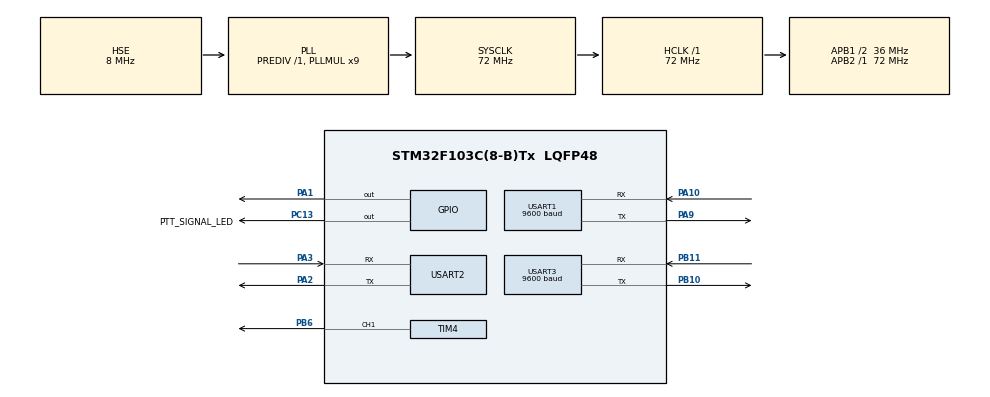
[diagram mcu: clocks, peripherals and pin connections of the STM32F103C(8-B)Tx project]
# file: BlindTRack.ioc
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Mcu.Family=STM32F1
Mcu.Name=STM32F103C(8-B)Tx
Mcu.Package=LQFP48
NVIC.PriorityGroup=NVIC_PRIORITYGROUP_4
NVIC.TIM4_IRQn=true\:0\:0\:false\:false\:true\:true\:true\:true
NVIC.USART1_IRQn=true\:0\:0\:false\:false\:true\:true\:true\:true
NVIC.USART2_IRQn=true\:0\:0\:false\:false\:true\:true\:true\:true
NVIC.USART3_IRQn=true\:0\:0\:false\:false\:true\:true\:true\:true
PA1.GPIO_PuPd=GPIO_PULLDOWN
PA1.Signal=GPIO_Output
PA10.Mode=Asynchronous
PA10.Signal=USART1_RX
PA2.Mode=Asynchronous
PA2.Signal=USART2_TX
PA3.Mode=Asynchronous
PA3.Signal=USART2_RX
PA9.Mode=Asynchronous
PA9.Signal=USART1_TX
PB10.Mode=Asynchronous
PB10.Signal=USART3_TX
PB11.Mode=Asynchronous
PB11.Signal=USART3_RX
PB6.Signal=S_TIM4_CH1
PC13-TAMPER-RTC.GPIO_Label=PTT_SIGNAL_LED
PC13-TAMPER-RTC.PinState=GPIO_PIN_SET
PC13-TAMPER-RTC.Signal=GPIO_Output
PD0-OSC_IN.Mode=HSE-External-Oscillator
PD0-OSC_IN.Signal=RCC_OSC_IN
PD1-OSC_OUT.Mode=HSE-External-Oscillator
PD1-OSC_OUT.Signal=RCC_OSC_OUT
ProjectManager.HeapSize=0x200
ProjectManager.StackSize=0x400
ProjectManager.TargetToolchain=STM32CubeIDE
RCC.AHBFreq_Value=72000000
RCC.APB1CLKDivider=RCC_HCLK_DIV2
RCC.APB1Freq_Value=36000000
RCC.APB1TimFreq_Value=72000000
RCC.APB2Freq_Value=72000000
RCC.APB2TimFreq_Value=72000000
RCC.HCLKFreq_Value=72000000
RCC.PLLMUL=RCC_PLL_MUL9
RCC.PLLSourceVirtual=RCC_PLLSOURCE_HSE
RCC.SYSCLKFreq_VALUE=72000000
RCC.SYSCLKSource=RCC_SYSCLKSOURCE_PLLCLK
RCC.USBFreq_Value=72000000
SH.S_TIM4_CH1.0=TIM4_CH1,PWM Generation1 CH1
TIM4.Channel-PWM\ Generation1\ CH1=TIM_CHANNEL_1
TIM4.Period=1499
TIM4.Prescaler=0
USART1.BaudRate=9600
USART1.VirtualMode=VM_ASYNC
USART2.VirtualMode=VM_ASYNC
USART3.BaudRate=9600
USART3.VirtualMode=VM_ASYNC
VP_SYS_VS_ND.Mode=No_Debug
board=custom

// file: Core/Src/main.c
/* USER CODE BEGIN Header */
/*
  ******************************************************************************
  * @file           : main.c
  * @brief          : Ercan OLCAY # BlindTRack APRS Tracker
  * 23.04.2026
  ******************************************************************************
  */
/* USER CODE END Header */
#include "main.h"
#include "config.h"
/* USER CODE BEGIN Includes */
#include "modem.h"
#include "ax25.h"
#include "ptt.h"
#include "gps_handler.h"
#include "tracker.h"
/* USER CODE END Includes */

TIM_HandleTypeDef htim4;

UART_HandleTypeDef huart1;
UART_HandleTypeDef huart2;
UART_HandleTypeDef huart3;

/* USER CODE BEGIN PV */
volatile uint8_t g_rxByte;        // GPS bytes (interrupt)
uint8_t          rx_byte3;        // Config UART RX byte
char             rx_buf3[128];    // Config UART buffer
volatile uint8_t rx_idx3 = 0;    // Config UART buffer index (interrupt)
/* USER CODE END PV */

void SystemClock_Config(void);
static void MX_GPIO_Init(void);
static void MX_TIM4_Init(void);
static void MX_USART1_UART_Init(void);
static void MX_USART2_UART_Init(void);
static void MX_USART3_UART_Init(void);
/* USER CODE BEGIN PFP */
uint8_t Ax25IsSending(void); // External Function for Hardware PTT Control
void WdogReset(void);
/* USER CODE END PFP */

int main(void)
{

  HAL_Init();

  SystemClock_Config();

  MX_GPIO_Init();
  MX_TIM4_Init();
  MX_USART1_UART_Init();
  MX_USART2_UART_Init();
  Load_Config_From_Flash();
  MX_USART3_UART_Init();
  HAL_UART_Receive_IT(&huart3, &rx_byte3, 1);

  /* USER CODE BEGIN 2 */
  HAL_NVIC_SetPriority(TIM4_IRQn, 0, 0);
  HAL_NVIC_EnableIRQ(TIM4_IRQn);

  ModemInit();
  Ax25Init();

  HAL_UART_Receive_IT(&huart1, &g_rxByte, 1);

  HAL_TIM_Base_Start_IT(&htim4);
  HAL_TIM_PWM_Start(&htim4, TIM_CHANNEL_1);

  extern uint32_t last_tx;
  last_tx = 0xFFF00000;
  /* USER CODE END 2 */

  /* USER CODE BEGIN WHILE */
  while (1)
  {
      Tracker_Run();
      // Millis overflow safety
      if (HAL_GetTick() > 0xFFFFF000)
          NVIC_SystemReset();
    /* USER CODE END WHILE */
  }
}

void SystemClock_Config(void)
{
  RCC_OscInitTypeDef RCC_OscInitStruct = {0};
  RCC_ClkInitTypeDef RCC_ClkInitStruct = {0};

  RCC_OscInitStruct.OscillatorType = RCC_OSCILLATORTYPE_HSE;
  RCC_OscInitStruct.HSEState = RCC_HSE_ON;
  RCC_OscInitStruct.HSEPredivValue = RCC_HSE_PREDIV_DIV1;
  RCC_OscInitStruct.HSIState = RCC_HSI_ON;
  RCC_OscInitStruct.PLL.PLLState = RCC_PLL_ON;
  RCC_OscInitStruct.PLL.PLLSource = RCC_PLLSOURCE_HSE;
  RCC_OscInitStruct.PLL.PLLMUL = RCC_PLL_MUL9;
  if (HAL_RCC_OscConfig(&RCC_OscInitStruct) != HAL_OK) Error_Handler();

  RCC_ClkInitStruct.ClockType = RCC_CLOCKTYPE_HCLK|RCC_CLOCKTYPE_SYSCLK
                              |RCC_CLOCKTYPE_PCLK1|RCC_CLOCKTYPE_PCLK2;
  RCC_ClkInitStruct.SYSCLKSource = RCC_SYSCLKSOURCE_PLLCLK;
  RCC_ClkInitStruct.AHBCLKDivider = RCC_SYSCLK_DIV1;
  RCC_ClkInitStruct.APB1CLKDivider = RCC_HCLK_DIV2;
  RCC_ClkInitStruct.APB2CLKDivider = RCC_HCLK_DIV1;
  if (HAL_RCC_ClockConfig(&RCC_ClkInitStruct, FLASH_LATENCY_2) != HAL_OK) Error_Handler();
}

static void MX_TIM4_Init(void)
{
  TIM_MasterConfigTypeDef sMasterConfig = {0};
  TIM_OC_InitTypeDef sConfigOC = {0};

  htim4.Instance = TIM4;
  htim4.Init.Prescaler = 0;
  htim4.Init.CounterMode = TIM_COUNTERMODE_UP;
  htim4.Init.Period = 1499;
  htim4.Init.ClockDivision = TIM_CLOCKDIVISION_DIV1;
  htim4.Init.AutoReloadPreload = TIM_AUTORELOAD_PRELOAD_DISABLE;
  if (HAL_TIM_PWM_Init(&htim4) != HAL_OK) Error_Handler();

  sMasterConfig.MasterOutputTrigger = TIM_TRGO_RESET;
  sMasterConfig.MasterSlaveMode = TIM_MASTERSLAVEMODE_DISABLE;
  if (HAL_TIMEx_MasterConfigSynchronization(&htim4, &sMasterConfig) != HAL_OK) Error_Handler();

  sConfigOC.OCMode = TIM_OCMODE_PWM1;
  sConfigOC.Pulse = 0;
  sConfigOC.OCPolarity = TIM_OCPOLARITY_HIGH;
  sConfigOC.OCFastMode = TIM_OCFAST_DISABLE;
  if (HAL_TIM_PWM_ConfigChannel(&htim4, &sConfigOC, TIM_CHANNEL_1) != HAL_OK) Error_Handler();

  HAL_TIM_MspPostInit(&htim4);
}

static void MX_USART1_UART_Init(void)
{
  huart1.Instance = USART1;
  huart1.Init.BaudRate = 9600;
  huart1.Init.WordLength = UART_WORDLENGTH_8B;
  huart1.Init.StopBits = UART_STOPBITS_1;
  huart1.Init.Parity = UART_PARITY_NONE;
  huart1.Init.Mode = UART_MODE_TX_RX;
  huart1.Init.HwFlowCtl = UART_HWCONTROL_NONE;
  huart1.Init.OverSampling = UART_OVERSAMPLING_16;
  if (HAL_UART_Init(&huart1) != HAL_OK) Error_Handler();
}

static void MX_USART2_UART_Init(void)
{
  huart2.Instance = USART2;
  huart2.Init.BaudRate = 115200;
  huart2.Init.WordLength = UART_WORDLENGTH_8B;
  huart2.Init.StopBits = UART_STOPBITS_1;
  huart2.Init.Parity = UART_PARITY_NONE;
  huart2.Init.Mode = UART_MODE_TX_RX;
  huart2.Init.HwFlowCtl = UART_HWCONTROL_NONE;
  huart2.Init.OverSampling = UART_OVERSAMPLING_16;
  if (HAL_UART_Init(&huart2) != HAL_OK) Error_Handler();
}

static void MX_USART3_UART_Init(void)
{
  huart3.Instance = USART3;
  huart3.Init.BaudRate = 9600;
  huart3.Init.WordLength = UART_WORDLENGTH_8B;
  huart3.Init.StopBits = UART_STOPBITS_1;
  huart3.Init.Parity = UART_PARITY_NONE;
  huart3.Init.Mode = UART_MODE_TX_RX;
  huart3.Init.HwFlowCtl = UART_HWCONTROL_NONE;
  huart3.Init.OverSampling = UART_OVERSAMPLING_16;
  if (HAL_UART_Init(&huart3) != HAL_OK) Error_Handler();
}

static void MX_GPIO_Init(void)
{
  GPIO_InitTypeDef GPIO_InitStruct = {0};

  __HAL_RCC_GPIOC_CLK_ENABLE();
  __HAL_RCC_GPIOD_CLK_ENABLE();
  __HAL_RCC_GPIOA_CLK_ENABLE();
  __HAL_RCC_GPIOB_CLK_ENABLE();

  HAL_GPIO_WritePin(PTT_SIGNAL_LED_GPIO_Port, PTT_SIGNAL_LED_Pin, GPIO_PIN_SET);
  HAL_GPIO_WritePin(GPIOA, GPIO_PIN_1, GPIO_PIN_RESET);

  GPIO_InitStruct.Pin = PTT_SIGNAL_LED_Pin;
  GPIO_InitStruct.Mode = GPIO_MODE_OUTPUT_PP;
  GPIO_InitStruct.Pull = GPIO_NOPULL;
  GPIO_InitStruct.Speed = GPIO_SPEED_FREQ_LOW;
  HAL_GPIO_Init(PTT_SIGNAL_LED_GPIO_Port, &GPIO_InitStruct);

  GPIO_InitStruct.Pin = GPIO_PIN_1;
  GPIO_InitStruct.Mode = GPIO_MODE_OUTPUT_PP;
  GPIO_InitStruct.Pull = GPIO_PULLDOWN;
  GPIO_InitStruct.Speed = GPIO_SPEED_FREQ_LOW;
  HAL_GPIO_Init(GPIOA, &GPIO_InitStruct);
}

/* USER CODE BEGIN 4 */
void HAL_UART_RxCpltCallback(UART_HandleTypeDef *huart) {
    // 1. Data from GPS
    if (huart->Instance == USART1) {
        GPS_Process(g_rxByte);
        HAL_UART_Receive_IT(&huart1, &g_rxByte, 1);
    }

    // 2. Settings from Configurator (USART3)
    if (huart->Instance == USART3) {
        if (rx_byte3 == '\n' || rx_byte3 == '\r') {
            rx_buf3[rx_idx3] = '\0';

            // "WRITE" request from configurator
            if (strncmp(rx_buf3, "CFG:", 4) == 0) {
                Parse_Config(rx_buf3 + 4);
            }
            // "READ" request from configurator
            else if (strncmp(rx_buf3, "GET_CFG", 7) == 0) {
                char tx_buf[192];
                sprintf(tx_buf, "CFG:%s,%d,%d,%c%c,%d,%d,%d,%d,%d,%d,%d,%s\n",
                        device_config.callsign,
                        device_config.ssid,
                        device_config.interval,
                        device_config.table_id,
                        device_config.symbol,
                        device_config.smart_beacon,
                        device_config.sb_low_speed,
                        device_config.sb_high_speed,
                        device_config.sb_slow_rate,
                        device_config.sb_fast_rate,
                        device_config.sb_turn_min,
                        device_config.sb_turn_slope,
                        device_config.comment);
                HAL_UART_Transmit(&huart3, (uint8_t*)tx_buf, strlen(tx_buf), 500);
            }

            rx_idx3 = 0;
        } else {
            if (rx_idx3 < sizeof(rx_buf3) - 1) {
                rx_buf3[rx_idx3++] = rx_byte3;
            } else {
                rx_idx3 = 0;
            }
        }
        HAL_UART_Receive_IT(&huart3, &rx_byte3, 1);
    }
}

void WdogReset(void) {
    /* IWDG not used — add HAL_IWDG_Refresh(&hiwdg) here if needed */
}
/* USER CODE END 4 */

void Error_Handler(void)
{
  __disable_irq();
  while (1) {}
}
